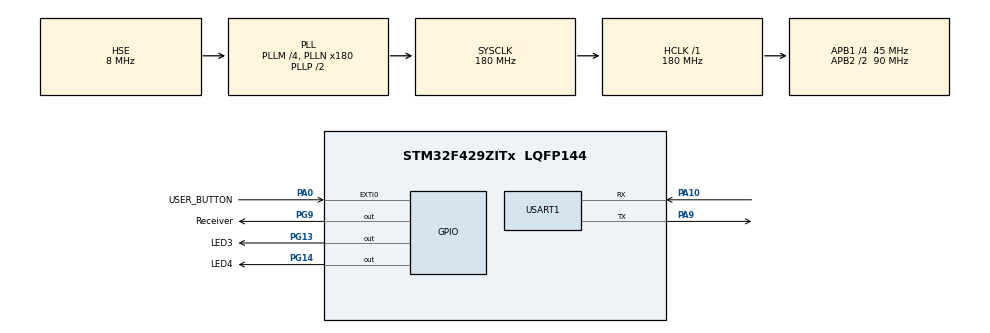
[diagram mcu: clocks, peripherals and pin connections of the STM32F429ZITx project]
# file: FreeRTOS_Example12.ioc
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FREERTOS.INCLUDE_vTaskDelayUntil=1
FREERTOS.Tasks01=defaultTask,0,128,StartDefaultTask,Default,NULL
Mcu.Family=STM32F4
Mcu.Name=STM32F429ZITx
Mcu.Package=LQFP144
NVIC.EXTI0_IRQn=true\:5\:0\:false\:false\:true\:true\:true
NVIC.PriorityGroup=NVIC_PRIORITYGROUP_4
NVIC.TIM6_DAC_IRQn=true\:0\:0\:false\:false\:true\:false\:false
NVIC.TimeBase=TIM6_DAC_IRQn
NVIC.TimeBaseIP=TIM6
PA0/WKUP.GPIO_Label=USER_BUTTON
PA0/WKUP.GPIO_PuPd=GPIO_PULLUP
PA0/WKUP.Signal=GPXTI0
PA10.Mode=Asynchronous
PA10.Signal=USART1_RX
PA13.Mode=Serial_Wire
PA13.Signal=SYS_JTMS-SWDIO
PA14.Mode=Serial_Wire
PA14.Signal=SYS_JTCK-SWCLK
PA9.Mode=Asynchronous
PA9.Signal=USART1_TX
PG13.GPIO_Label=LED3
PG13.Signal=GPIO_Output
PG14.GPIO_Label=LED4
PG14.Signal=GPIO_Output
PG9.GPIO_Label=Receiver
PG9.Signal=GPIO_Output
PH0/OSC_IN.Mode=HSE-External-Oscillator
PH0/OSC_IN.Signal=RCC_OSC_IN
PH1/OSC_OUT.Mode=HSE-External-Oscillator
PH1/OSC_OUT.Signal=RCC_OSC_OUT
ProjectManager.HeapSize=0x200
ProjectManager.StackSize=0x400
ProjectManager.TargetToolchain=TrueSTUDIO
RCC.48MHZClocksFreq_Value=90000000
RCC.AHBFreq_Value=180000000
RCC.APB1CLKDivider=RCC_HCLK_DIV4
RCC.APB1Freq_Value=45000000
RCC.APB1TimFreq_Value=90000000
RCC.APB2CLKDivider=RCC_HCLK_DIV2
RCC.APB2Freq_Value=90000000
RCC.APB2TimFreq_Value=180000000
RCC.CortexFreq_Value=180000000
RCC.HCLKFreq_Value=180000000
RCC.HSE_VALUE=8000000
RCC.HSI_VALUE=16000000
RCC.LSE_VALUE=32768
RCC.PLLM=4
RCC.PLLN=180
RCC.PLLSourceVirtual=RCC_PLLSOURCE_HSE
RCC.SYSCLKFreq_VALUE=180000000
RCC.SYSCLKSource=RCC_SYSCLKSOURCE_PLLCLK
RCC.VCOOutputFreq_Value=360000000
USART1.VirtualMode=VM_ASYNC
VP_FREERTOS_VS_ENABLE.Mode=Enabled
VP_SYS_VS_tim6.Mode=TIM6
board=custom

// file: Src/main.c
/* USER CODE BEGIN Header */
/**
  ******************************************************************************
  * @file           : main.c
  * @brief          : Main program body
  ******************************************************************************
  * This notice applies to any and all portions of this file
  * that are not between comment pairs USER CODE BEGIN and
  * USER CODE END. Other portions of this file, whether
  * inserted by the user or by software development tools
  * are owned by their respective copyright owners.
  *
  * Copyright (c) 2019 STMicroelectronics International N.V.
  * All rights reserved.
  *
  * Redistribution and use in source and binary forms, with or without
  * modification, are permitted, provided that the following conditions are met:
  *
  * 1. Redistribution of source code must retain the above copyright notice,
  *    this list of conditions and the following disclaimer.
  * 2. Redistributions in binary form must reproduce the above copyright notice,
  *    this list of conditions and the following disclaimer in the documentation
  *    and/or other materials provided with the distribution.
  * 3. Neither the name of STMicroelectronics nor the names of other
  *    contributors to this software may be used to endorse or promote products
  *    derived from this software without specific written permission.
  * 4. This software, including modifications and/or derivative works of this
  *    software, must execute solely and exclusively on microcontroller or
  *    microprocessor devices manufactured by or for STMicroelectronics.
  * 5. Redistribution and use of this software other than as permitted under
  *    this license is void and will automatically terminate your rights under
  *    this license.
  *
  * THIS SOFTWARE IS PROVIDED BY STMICROELECTRONICS AND CONTRIBUTORS "AS IS"
  * AND ANY EXPRESS, IMPLIED OR STATUTORY WARRANTIES, INCLUDING, BUT NOT
  * LIMITED TO, THE IMPLIED WARRANTIES OF MERCHANTABILITY, FITNESS FOR A
  * PARTICULAR PURPOSE AND NON-INFRINGEMENT OF THIRD PARTY INTELLECTUAL PROPERTY
  * RIGHTS ARE DISCLAIMED TO THE FULLEST EXTENT PERMITTED BY LAW. IN NO EVENT
  * SHALL STMICROELECTRONICS OR CONTRIBUTORS BE LIABLE FOR ANY DIRECT, INDIRECT,
  * INCIDENTAL, SPECIAL, EXEMPLARY, OR CONSEQUENTIAL DAMAGES (INCLUDING, BUT NOT
  * LIMITED TO, PROCUREMENT OF SUBSTITUTE GOODS OR SERVICES; LOSS OF USE, DATA,
  * OR PROFITS; OR BUSINESS INTERRUPTION) HOWEVER CAUSED AND ON ANY THEORY OF
  * LIABILITY, WHETHER IN CONTRACT, STRICT LIABILITY, OR TORT (INCLUDING
  * NEGLIGENCE OR OTHERWISE) ARISING IN ANY WAY OUT OF THE USE OF THIS SOFTWARE,
  * EVEN IF ADVISED OF THE POSSIBILITY OF SUCH DAMAGE.
  *
  ******************************************************************************
  */
/* USER CODE END Header */

#include "main.h"
#include "cmsis_os.h"

/* USER CODE BEGIN Includes */
#include <string.h>

/* USER CODE END Includes */

UART_HandleTypeDef huart1;

osThreadId defaultTaskHandle;

void SystemClock_Config(void);
static void MX_GPIO_Init(void);
static void MX_USART1_UART_Init(void);
void StartDefaultTask(void const * argument);

/* USER CODE BEGIN 0 */
xSemaphoreHandle xButtonUserSemaphore = NULL;	// Create semaphore variable with initial value "NULL"

void vButtonTask(void *pvParameter);			// Define Task function

void HAL_GPIO_EXTI_Callback(uint16_t GPIO_Pin)	// Interrupt Callback function
{

  BaseType_t xHigerPriorityTaskWoken = pdFALSE;

  xSemaphoreGiveFromISR(xButtonUserSemaphore, &xHigerPriorityTaskWoken);

  HAL_UART_Transmit(&huart1, (uint8_t *)("Semaphore Give From ISR \r \n"), (uint16_t)strlen("Semaphore Give From ISR \r \n"), 0xFFFFFFFF);
  portYIELD_FROM_ISR(xHigerPriorityTaskWoken);

}
/* USER CODE END 0 */

int main(void)
{

  /* MCU Configuration--------------------------------------------------------*/

  /* Reset of all peripherals, Initializes the Flash interface and the Systick. */
  HAL_Init();

  /* Configure the system clock */
  SystemClock_Config();

  /* Initialize all configured peripherals */
  MX_GPIO_Init();
  MX_USART1_UART_Init();

  /* USER CODE BEGIN RTOS_SEMAPHORES */
  /* add semaphores, ... */
  vSemaphoreCreateBinary(xButtonUserSemaphore);

  /* USER CODE END RTOS_SEMAPHORES */

  /* Create the thread(s) */
  /* definition and creation of defaultTask */
  osThreadDef(defaultTask, StartDefaultTask, osPriorityNormal, 0, 128);
  defaultTaskHandle = osThreadCreate(osThread(defaultTask), NULL);

  /* USER CODE BEGIN RTOS_THREADS */
  /* add threads, ... */
  xTaskCreate(vButtonTask, "ButtonTask", configMINIMAL_STACK_SIZE, NULL, 1, NULL);

  /* USER CODE END RTOS_THREADS */

  /* Start scheduler */
  osKernelStart();

  /* We should never get here as control is now taken by the scheduler */

  /* Infinite loop */
  while (1)
  {

  }
}

void SystemClock_Config(void)
{
  RCC_OscInitTypeDef RCC_OscInitStruct = {0};
  RCC_ClkInitTypeDef RCC_ClkInitStruct = {0};

  /**Configure the main internal regulator output voltage
  */
  __HAL_RCC_PWR_CLK_ENABLE();
  __HAL_PWR_VOLTAGESCALING_CONFIG(PWR_REGULATOR_VOLTAGE_SCALE1);
  /**Initializes the CPU, AHB and APB busses clocks
  */
  RCC_OscInitStruct.OscillatorType = RCC_OSCILLATORTYPE_HSE;
  RCC_OscInitStruct.HSEState = RCC_HSE_ON;
  RCC_OscInitStruct.PLL.PLLState = RCC_PLL_ON;
  RCC_OscInitStruct.PLL.PLLSource = RCC_PLLSOURCE_HSE;
  RCC_OscInitStruct.PLL.PLLM = 4;
  RCC_OscInitStruct.PLL.PLLN = 180;
  RCC_OscInitStruct.PLL.PLLP = RCC_PLLP_DIV2;
  RCC_OscInitStruct.PLL.PLLQ = 4;
  if (HAL_RCC_OscConfig(&RCC_OscInitStruct) != HAL_OK)
  {
    Error_Handler();
  }
  /**Activate the Over-Drive mode
  */
  if (HAL_PWREx_EnableOverDrive() != HAL_OK)
  {
    Error_Handler();
  }
  /**Initializes the CPU, AHB and APB busses clocks
  */
  RCC_ClkInitStruct.ClockType = RCC_CLOCKTYPE_HCLK|RCC_CLOCKTYPE_SYSCLK
                              |RCC_CLOCKTYPE_PCLK1|RCC_CLOCKTYPE_PCLK2;
  RCC_ClkInitStruct.SYSCLKSource = RCC_SYSCLKSOURCE_PLLCLK;
  RCC_ClkInitStruct.AHBCLKDivider = RCC_SYSCLK_DIV1;
  RCC_ClkInitStruct.APB1CLKDivider = RCC_HCLK_DIV4;
  RCC_ClkInitStruct.APB2CLKDivider = RCC_HCLK_DIV2;

  if (HAL_RCC_ClockConfig(&RCC_ClkInitStruct, FLASH_LATENCY_5) != HAL_OK)
  {
    Error_Handler();
  }
}

static void MX_USART1_UART_Init(void)
{

  huart1.Instance = USART1;
  huart1.Init.BaudRate = 115200;
  huart1.Init.WordLength = UART_WORDLENGTH_8B;
  huart1.Init.StopBits = UART_STOPBITS_1;
  huart1.Init.Parity = UART_PARITY_NONE;
  huart1.Init.Mode = UART_MODE_TX_RX;
  huart1.Init.HwFlowCtl = UART_HWCONTROL_NONE;
  huart1.Init.OverSampling = UART_OVERSAMPLING_16;
  if (HAL_UART_Init(&huart1) != HAL_OK)
  {
    Error_Handler();
  }

}

static void MX_GPIO_Init(void)
{
  GPIO_InitTypeDef GPIO_InitStruct = {0};

  /* GPIO Ports Clock Enable */
  __HAL_RCC_GPIOH_CLK_ENABLE();
  __HAL_RCC_GPIOA_CLK_ENABLE();
  __HAL_RCC_GPIOG_CLK_ENABLE();

  /*Configure GPIO pin Output Level */
  HAL_GPIO_WritePin(GPIOG, Receiver_Pin|LED3_Pin|LED4_Pin, GPIO_PIN_RESET);

  /*Configure GPIO pin : USER_BUTTON_Pin */
  GPIO_InitStruct.Pin = USER_BUTTON_Pin;
  GPIO_InitStruct.Mode = GPIO_MODE_IT_RISING;

  GPIO_InitStruct.Pull = GPIO_NOPULL;
  //GPIO_InitStruct.Pull = GPIO_PULLUP;

  HAL_GPIO_Init(USER_BUTTON_GPIO_Port, &GPIO_InitStruct);

  /*Configure GPIO pins : Receiver_Pin LED3_Pin LED4_Pin */
  GPIO_InitStruct.Pin = Receiver_Pin|LED3_Pin|LED4_Pin;
  GPIO_InitStruct.Mode = GPIO_MODE_OUTPUT_PP;
  GPIO_InitStruct.Pull = GPIO_NOPULL;
  GPIO_InitStruct.Speed = GPIO_SPEED_FREQ_LOW;
  HAL_GPIO_Init(GPIOG, &GPIO_InitStruct);

  /* EXTI interrupt init*/
  HAL_NVIC_SetPriority(EXTI0_IRQn, 5, 0);
  HAL_NVIC_EnableIRQ(EXTI0_IRQn);

}

/* USER CODE BEGIN 4 */
void vButtonTask( void *pvParameters )
{
  portTickType xLastWakeTime;
  const portTickType xFrequency = 100;
  xLastWakeTime=xTaskGetTickCount();

  for( ;; )
  {
      if((xButtonUserSemaphore!=NULL))
      {
         if (xSemaphoreTake(xButtonUserSemaphore, (portTickType)10)==pdTRUE)
         {
                HAL_GPIO_TogglePin(LED3_GPIO_Port, LED3_Pin);
                HAL_UART_Transmit(&huart1, (uint8_t *)("Semaphore Take \r \n"), (uint16_t)strlen("Semaphore Take \r \n"), 0xFFFFFFFF);
         }
      }
      vTaskDelayUntil(&xLastWakeTime, xFrequency);
  }
}

/* USER CODE END 4 */

void StartDefaultTask(void const * argument)
{

  for(;;)
  {
    osDelay(1);
  }
}

void HAL_TIM_PeriodElapsedCallback(TIM_HandleTypeDef *htim)
{
  if (htim->Instance == TIM6) {
    HAL_IncTick();
  }
}

void Error_Handler(void)
{
}

/************************ (C) COPYRIGHT STMicroelectronics *****END OF FILE****/
